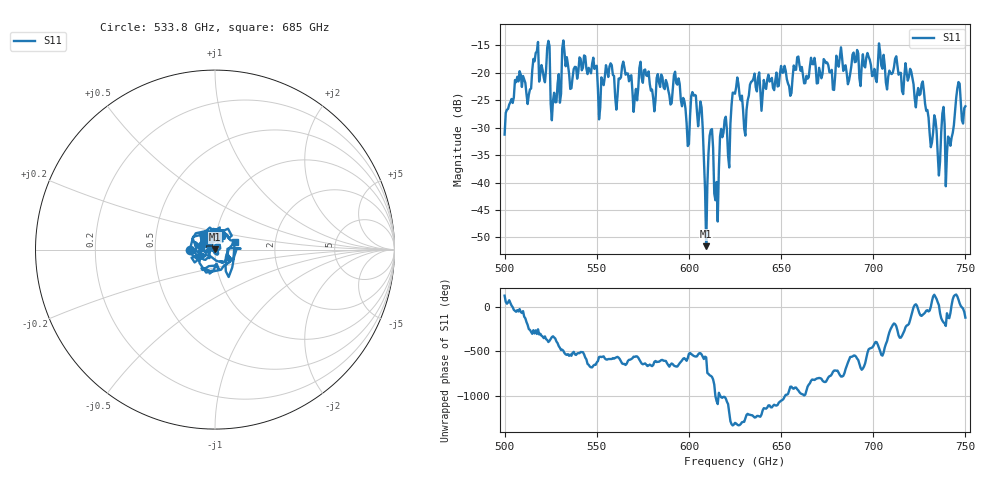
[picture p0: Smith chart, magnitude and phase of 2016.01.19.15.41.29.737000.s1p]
!Created with skrf (http://scikit-rf.org).
# GHz S RI R 50.0
!freq ReS11 ImS11
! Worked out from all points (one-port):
!   401 points, 500 GHz to 750 GHz, reference 50 ohm
!   lowest |S11| = -51.6 dB at 609.4 GHz (marker M1), VSWR 1.01, Z = 49.8 + j0.126 ohm
!   |S11| at or under -10 dB: start of sweep to end of sweep
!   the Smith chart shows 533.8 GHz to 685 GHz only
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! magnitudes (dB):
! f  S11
! 500 GHz  -31.3
! 506.9 GHz  -20.7
! 513.1 GHz  -24.0
! 516.9 GHz  -16.4
! 523.1 GHz  -15.4
! 526.2 GHz  -25.1
! 531.2 GHz  -15.6
! 562.5 GHz  -21.1
! 593.8 GHz  -22.2
! 599.4 GHz  -33.4
! 602.5 GHz  -24.2
! 606.2 GHz  -25.2
! 609.4 GHz  -51.6
! 611.9 GHz  -30.4
! 615 GHz  -39.9
! 618.1 GHz  -31.7
! 621.9 GHz  -37.3
! 625 GHz  -23.8
! 630.6 GHz  -31.5
! 634.4 GHz  -21.5
! 656.2 GHz  -20.9
! 687.5 GHz  -20.2
! 718.8 GHz  -21.4
! 735.6 GHz  -38.7
! 737.5 GHz  -27.4
! 740.6 GHz  -31.6
! 746.2 GHz  -21.7
! 750 GHz  -26.1
